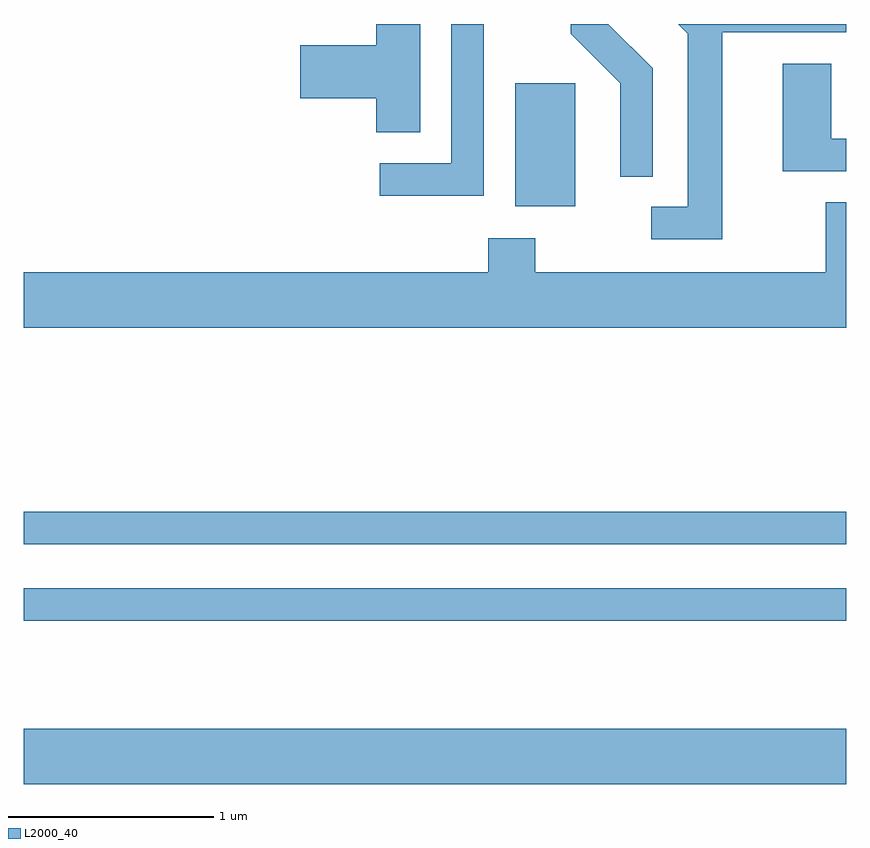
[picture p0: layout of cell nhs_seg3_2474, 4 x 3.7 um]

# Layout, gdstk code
import gdstk
lib = gdstk.Library(unit=1e-6, precision=1e-09)
def R(c, l, rs):  # rectangles x0, y0, x1, y1
    for r in rs: c.add(gdstk.rectangle(r[:2], r[2:], *l))
def P(c, l, *ps):  # polygons
    for p in ps: c.add(gdstk.Polygon(p, *l))
L2000_40 = (2000, 40)

nhs_seg3_2474 = lib.new_cell('nhs_seg3_2474')
R(nhs_seg3_2474, L2000_40, [(257.611,1168.196,261.611,1168.464), (257.611,1168.991,261.611,1169.149), (257.611,1169.361,261.611,1169.519), (260.001,1171.006,260.294,1171.604)])
P(nhs_seg3_2474, L2000_40, [(259.849,1171.892),(259.691,1171.892),(259.691,1171.214),(259.343,1171.214),(259.343,1171.056),(259.849,1171.056)],
  [(260.669,1171.677),(260.454,1171.892),(260.271,1171.892),(260.271,1171.844),(260.511,1171.604),(260.511,1171.148),(260.669,1171.148)],
  [(259.539,1171.892),(259.326,1171.892),(259.326,1171.789),(258.956,1171.789),(258.956,1171.531),(259.326,1171.531),(259.326,1171.366),(259.539,1171.366)],
  [(261.009,1171.851),(261.611,1171.851),(261.611,1171.892),(260.793,1171.892),(260.841,1171.844),(260.841,1171.004),(260.663,1171.004),(260.663,1170.846),(261.009,1170.846)],
  [(261.611,1171.334),(261.539,1171.334),(261.539,1171.699),(261.301,1171.699),(261.301,1171.176),(261.611,1171.176)],
  [(261.611,1171.024),(261.511,1171.024),(261.511,1170.684),(260.099,1170.684),(260.099,1170.849),(259.871,1170.849),(259.871,1170.684),(257.611,1170.684),(257.611,1170.416),(261.611,1170.416)])

lib.write_gds('nhs_seg3_2474.gds')
